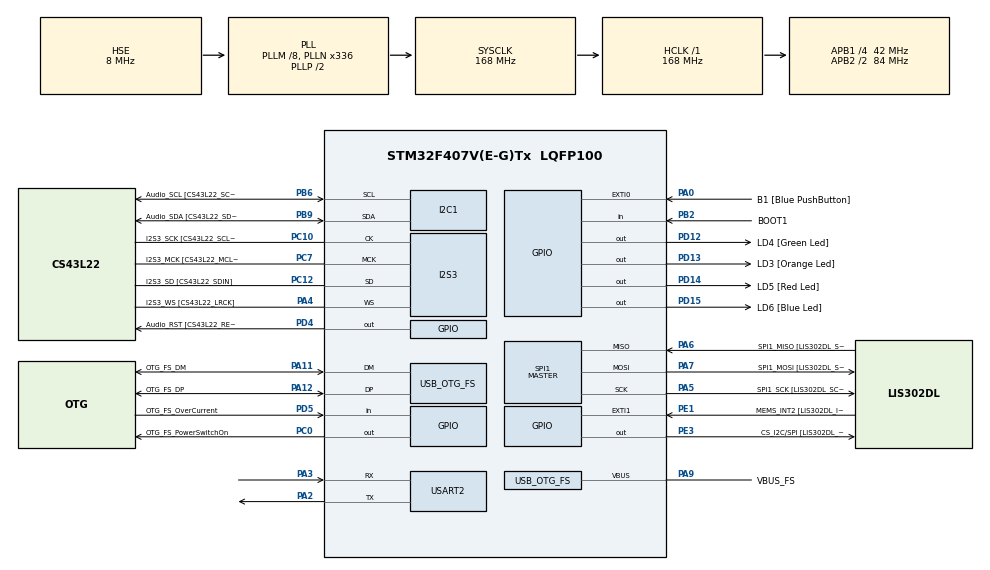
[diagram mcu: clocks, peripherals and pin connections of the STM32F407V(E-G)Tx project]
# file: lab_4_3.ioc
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FREERTOS.Mutexes01=myMutex01,Dynamic,NULL
FREERTOS.Tasks01=defaultTask,0,128,StartDefaultTask,Default,NULL,Dynamic,NULL,NULL
I2S3.AudioFreq-Half_Duplex_Master=I2S_AUDIOFREQ_96K
I2S3.ErrorAudioFreq=-2.34 %
I2S3.ErrorAudioFreq-Half_Duplex_Master=0.8 %
I2S3.FullDuplexMode=I2S_FULLDUPLEXMODE_DISABLE
I2S3.Instance=SPI$Index
I2S3.RealAudioFreq=93.75 KHz
I2S3.RealAudioFreq-Half_Duplex_Master=96.774 KHz
I2S3.VirtualMode=I2S_MODE_MASTER
Mcu.Family=STM32F4
Mcu.Name=STM32F407V(E-G)Tx
Mcu.Package=LQFP100
NVIC.OTG_FS_IRQn=true\:5\:0\:false\:false\:true\:true\:true\:true
NVIC.PriorityGroup=NVIC_PRIORITYGROUP_4
PA0-WKUP.GPIO_Label=B1 [Blue PushButton]
PA0-WKUP.GPIO_ModeDefaultEXTI=GPIO_MODE_EVT_RISING
PA0-WKUP.GPIO_PuPd=GPIO_NOPULL
PA0-WKUP.Signal=GPXTI0
PA10.GPIO_Label=OTG_FS_ID
PA10.GPIO_Mode=GPIO_MODE_AF_PP
PA10.GPIO_PuPd=GPIO_NOPULL
PA10.GPIO_Speed=GPIO_SPEED_FREQ_LOW
PA10.Signal=USB_OTG_FS_ID
PA11.GPIO_Label=OTG_FS_DM
PA11.GPIO_Mode=GPIO_MODE_AF_PP
PA11.GPIO_PuPd=GPIO_NOPULL
PA11.GPIO_Speed=GPIO_SPEED_FREQ_LOW
PA11.Mode=Host_Only
PA11.Signal=USB_OTG_FS_DM
PA12.GPIO_Label=OTG_FS_DP
PA12.GPIO_Mode=GPIO_MODE_AF_PP
PA12.GPIO_PuPd=GPIO_NOPULL
PA12.GPIO_Speed=GPIO_SPEED_FREQ_LOW
PA12.Mode=Host_Only
PA12.Signal=USB_OTG_FS_DP
PA13.GPIO_Label=SWDIO
PA13.Mode=Serial_Wire
PA13.Signal=SYS_JTMS-SWDIO
PA14.GPIO_Label=SWCLK
PA14.Mode=Serial_Wire
PA14.Signal=SYS_JTCK-SWCLK
PA2.Mode=Asynchronous
PA2.Signal=USART2_TX
PA3.Mode=Asynchronous
PA3.Signal=USART2_RX
PA4.GPIO_Label=I2S3_WS [CS43L22_LRCK]
PA4.GPIO_Mode=GPIO_MODE_AF_PP
PA4.GPIO_PuPd=GPIO_NOPULL
PA4.GPIO_Speed=GPIO_SPEED_FREQ_LOW
PA4.Mode=Half_Duplex_Master
PA4.Signal=I2S3_WS
PA5.GPIO_Label=SPI1_SCK [LIS302DL_SCL/SPC]
PA5.GPIO_Mode=GPIO_MODE_AF_PP
PA5.GPIO_PuPd=GPIO_NOPULL
PA5.GPIO_Speed=GPIO_SPEED_FREQ_LOW
PA5.Mode=Full_Duplex_Master
PA5.Signal=SPI1_SCK
PA6.GPIO_Label=SPI1_MISO [LIS302DL_SDO]
PA6.GPIO_Mode=GPIO_MODE_AF_PP
PA6.GPIO_PuPd=GPIO_NOPULL
PA6.GPIO_Speed=GPIO_SPEED_FREQ_LOW
PA6.Mode=Full_Duplex_Master
PA6.Signal=SPI1_MISO
PA7.GPIO_Label=SPI1_MOSI [LIS302DL_SDA/SDI/SDO]
PA7.GPIO_Mode=GPIO_MODE_AF_PP
PA7.GPIO_PuPd=GPIO_NOPULL
PA7.GPIO_Speed=GPIO_SPEED_FREQ_LOW
PA7.Mode=Full_Duplex_Master
PA7.Signal=SPI1_MOSI
PA9.GPIO_Label=VBUS_FS
PA9.GPIO_Mode=GPIO_MODE_INPUT
PA9.GPIO_PuPd=GPIO_NOPULL
PA9.Mode=Activate_VBUS
PA9.Signal=USB_OTG_FS_VBUS
PB10.GPIO_Label=CLK_IN [MP45DT02_CLK]
PB10.GPIO_Mode=GPIO_MODE_AF_PP
PB10.GPIO_PuPd=GPIO_NOPULL
PB10.GPIO_Speed=GPIO_SPEED_FREQ_LOW
PB10.Signal=I2S2_CK
PB2.GPIO_Label=BOOT1
PB2.GPIO_Mode=GPIO_MODE_INPUT
PB2.GPIO_PuPd=GPIO_NOPULL
PB2.Signal=GPIO_Input
PB3.GPIO_Label=SWO
PB3.Signal=SYS_JTDO-SWO
PB6.GPIO_Label=Audio_SCL [CS43L22_SCL]
PB6.GPIO_Mode=GPIO_MODE_AF_OD
PB6.GPIO_Pu=GPIO_PULLUP
PB6.GPIO_PuPd=GPIO_NOPULL
PB6.GPIO_Speed=GPIO_SPEED_FREQ_LOW
PB6.Mode=I2C
PB6.Signal=I2C1_SCL
PB9.GPIO_Label=Audio_SDA [CS43L22_SDA]
PB9.GPIO_Mode=GPIO_MODE_AF_OD
PB9.GPIO_Pu=GPIO_PULLUP
PB9.GPIO_PuPd=GPIO_NOPULL
PB9.GPIO_Speed=GPIO_SPEED_FREQ_LOW
PB9.Mode=I2C
PB9.Signal=I2C1_SDA
PC0.GPIO_Label=OTG_FS_PowerSwitchOn
PC0.GPIO_PuPd=GPIO_NOPULL
PC0.GPIO_Speed=GPIO_SPEED_FREQ_LOW
PC0.PinState=GPIO_PIN_SET
PC0.Signal=GPIO_Output
PC10.GPIO_Label=I2S3_SCK [CS43L22_SCLK]
PC10.GPIO_Mode=GPIO_MODE_AF_PP
PC10.GPIO_PuPd=GPIO_NOPULL
PC10.GPIO_Speed=GPIO_SPEED_FREQ_LOW
PC10.Mode=Half_Duplex_Master
PC10.Signal=I2S3_CK
PC12.GPIO_Label=I2S3_SD [CS43L22_SDIN]
PC12.GPIO_Mode=GPIO_MODE_AF_PP
PC12.GPIO_PuPd=GPIO_NOPULL
PC12.GPIO_Speed=GPIO_SPEED_FREQ_LOW
PC12.Mode=Half_Duplex_Master
PC12.Signal=I2S3_SD
PC14-OSC32_IN.GPIO_Label=PC14-OSC32_IN
PC14-OSC32_IN.Mode=LSE-External-Oscillator
PC14-OSC32_IN.Signal=RCC_OSC32_IN
PC15-OSC32_OUT.GPIO_Label=PC15-OSC32_OUT
PC15-OSC32_OUT.Mode=LSE-External-Oscillator
PC15-OSC32_OUT.Signal=RCC_OSC32_OUT
PC3.GPIO_Label=PDM_OUT [MP45DT02_DOUT]
PC3.GPIO_Mode=GPIO_MODE_AF_PP
PC3.GPIO_PuPd=GPIO_NOPULL
PC3.GPIO_Speed=GPIO_SPEED_FREQ_LOW
PC3.Signal=I2S2_SD
PC7.GPIO_Label=I2S3_MCK [CS43L22_MCLK]
PC7.GPIO_Mode=GPIO_MODE_AF_PP
PC7.GPIO_PuPd=GPIO_NOPULL
PC7.GPIO_Speed=GPIO_SPEED_FREQ_LOW
PC7.Mode=Master_Clock_Activated
PC7.Signal=I2S3_MCK
PD12.GPIO_Label=LD4 [Green Led]
PD12.GPIO_PuPd=GPIO_NOPULL
PD12.GPIO_Speed=GPIO_SPEED_FREQ_LOW
PD12.Signal=GPIO_Output
PD13.GPIO_Label=LD3 [Orange Led]
PD13.GPIO_PuPd=GPIO_NOPULL
PD13.GPIO_Speed=GPIO_SPEED_FREQ_LOW
PD13.Signal=GPIO_Output
PD14.GPIO_Label=LD5 [Red Led]
PD14.GPIO_PuPd=GPIO_NOPULL
PD14.GPIO_Speed=GPIO_SPEED_FREQ_LOW
PD14.Signal=GPIO_Output
PD15.GPIO_Label=LD6 [Blue Led]
PD15.GPIO_PuPd=GPIO_NOPULL
PD15.GPIO_Speed=GPIO_SPEED_FREQ_LOW
PD15.Signal=GPIO_Output
PD4.GPIO_Label=Audio_RST [CS43L22_RESET]
PD4.GPIO_PuPd=GPIO_NOPULL
PD4.GPIO_Speed=GPIO_SPEED_FREQ_LOW
PD4.Signal=GPIO_Output
PD5.GPIO_Label=OTG_FS_OverCurrent
PD5.GPIO_Mode=GPIO_MODE_INPUT
PD5.GPIO_PuPd=GPIO_NOPULL
PD5.Signal=GPIO_Input
PE1.GPIO_Label=MEMS_INT2 [LIS302DL_INT2]
PE1.GPIO_ModeDefaultEXTI=GPIO_MODE_EVT_RISING
PE1.GPIO_PuPd=GPIO_NOPULL
PE1.Signal=GPXTI1
PE3.GPIO_Label=CS_I2C/SPI [LIS302DL_CS_I2C/SPI]
PE3.GPIO_PuPd=GPIO_NOPULL
PE3.GPIO_Speed=GPIO_SPEED_FREQ_LOW
PE3.Signal=GPIO_Output
PH0-OSC_IN.GPIO_Label=PH0-OSC_IN
PH0-OSC_IN.Mode=HSE-External-Oscillator
PH0-OSC_IN.Signal=RCC_OSC_IN
PH1-OSC_OUT.GPIO_Label=PH1-OSC_OUT
PH1-OSC_OUT.Mode=HSE-External-Oscillator
PH1-OSC_OUT.Signal=RCC_OSC_OUT
ProjectManager.HeapSize=0x200
ProjectManager.StackSize=0x400
ProjectManager.TargetToolchain=STM32CubeIDE
RCC.48MHZClocksFreq_Value=48000000
RCC.AHBFreq_Value=168000000
RCC.APB1CLKDivider=RCC_HCLK_DIV4
RCC.APB1Freq_Value=42000000
RCC.APB1TimFreq_Value=84000000
RCC.APB2CLKDivider=RCC_HCLK_DIV2
RCC.APB2Freq_Value=84000000
RCC.APB2TimFreq_Value=168000000
RCC.CortexFreq_Value=168000000
RCC.HCLKFreq_Value=168000000
RCC.HSE_VALUE=8000000
RCC.HSI_VALUE=16000000
RCC.PLLM=8
RCC.PLLN=336
RCC.PLLQ=7
RCC.SYSCLKFreq_VALUE=168000000
RCC.SYSCLKSource=RCC_SYSCLKSOURCE_PLLCLK
RCC.VCOOutputFreq_Value=336000000
SPI1.BaudRatePrescaler-Full_Duplex_Master=SPI_BAUDRATEPRESCALER_2
SPI1.CalculateBaudRate-Full_Duplex_Master=42.0 MBits/s
SPI1.Direction=SPI_DIRECTION_2LINES
SPI1.Mode=SPI_MODE_MASTER
SPI1.Mode-Full_Duplex_Master=SPI_MODE_MASTER
SPI1.VirtualType=VM_MASTER
USART2.VirtualMode=VM_ASYNC
USB_HOST.BSP.number=1
USB_HOST.USBH_HandleTypeDef-CDC_FS=hUsbHostFS
USB_HOST.USBH_USE_OS-CDC_FS=0
USB_HOST.VirtualModeFS=Cdc
USB_HOST0.BSP.STBoard=false
USB_HOST0.BSP.api=Unknown
USB_HOST0.BSP.i2caddr=0
USB_HOST0.BSP.i2creg=0
USB_HOST0.BSP.instance=PC0
USB_HOST0.BSP.ip=GPIO
USB_HOST0.BSP.mode=Output
USB_HOST0.BSP.name=Drive_VBUS_FS
USB_HOST0.BSP.solution=PC0
USB_OTG_FS.VirtualMode=Host_Only
USB_OTG_FS.phy_itface=HCD_PHY_EMBEDDED
VP_FREERTOS_VS_CMSIS_V1.Mode=CMSIS_V1
VP_USB_HOST_VS_USB_HOST_CDC_FS.Mode=CDC_FS
board=STM32F407G-DISC1

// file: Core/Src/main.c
/* USER CODE BEGIN Header */
/**
 ******************************************************************************
 * @file           : main.c
 * @brief          : Main program body
 ******************************************************************************
 * @attention
 *
 * Copyright (c) 2022 STMicroelectronics.
 * All rights reserved.
 *
 * This software is licensed under terms that can be found in the LICENSE file
 * in the root directory of this software component.
 * If no LICENSE file comes with this software, it is provided AS-IS.
 *
 ******************************************************************************
 */
/* USER CODE END Header */
#include "main.h"
#include "cmsis_os.h"
#include "usb_host.h"

I2C_HandleTypeDef hi2c1;

I2S_HandleTypeDef hi2s3;

SPI_HandleTypeDef hspi1;

UART_HandleTypeDef huart2;

osThreadId defaultTaskHandle;
osMutexId myMutex01Handle;

void SystemClock_Config(void);
static void MX_GPIO_Init(void);
static void MX_I2C1_Init(void);
static void MX_I2S3_Init(void);
static void MX_SPI1_Init(void);
static void MX_USART2_UART_Init(void);
void StartDefaultTask(void const *argument);

/* USER CODE BEGIN 0 */
void uart1_thread(void const *args) {
	int threadID = 0; // threadID is 0 for one thread and 1 for another
	int idx = 0;
	char buffer[32];
	while (1) {
		sprintf(buffer, "TID: %d %d\r\n", threadID, idx);
		idx++;
		osMutexWait(myMutex01Handle, osWaitForever);
		HAL_UART_Transmit(&huart2, buffer, strlen(buffer), 1000);
		osMutexRelease(myMutex01Handle);
		osThreadYield();
	}
}

void uart2_thread(void const *args) {
	int threadID = 1; // threadID is 0 for one thread and 1 for another
	int idx = 0;
	char buffer[32];
	while (1) {
		sprintf(buffer, "TID: %d %d\r\n", threadID, idx);
		idx++;
		osMutexWait(myMutex01Handle, osWaitForever);
		HAL_UART_Transmit(&huart2, buffer, strlen(buffer), 1000);
		osMutexRelease(myMutex01Handle);
		osThreadYield();
	}
}

/* USER CODE END 0 */

int main(void) {

	/* MCU Configuration--------------------------------------------------------*/

	/* Reset of all peripherals, Initializes the Flash interface and the Systick. */
	HAL_Init();

	/* Configure the system clock */
	SystemClock_Config();

	/* Initialize all configured peripherals */
	MX_GPIO_Init();
	MX_I2C1_Init();
	MX_I2S3_Init();
	MX_SPI1_Init();
	MX_USART2_UART_Init();

	/* Create the mutex(es) */
	/* definition and creation of myMutex01 */
	osMutexDef(myMutex01);
	myMutex01Handle = osMutexCreate(osMutex(myMutex01));

	/* Create the thread(s) */
	/* definition and creation of defaultTask */
	osThreadDef(defaultTask, StartDefaultTask, osPriorityNormal, 0, 128);
	defaultTaskHandle = osThreadCreate(osThread(defaultTask), NULL);

	/* Start scheduler */
	osKernelStart();

	/* We should never get here as control is now taken by the scheduler */
	/* Infinite loop */
	while (1) {

	}
}

void SystemClock_Config(void) {
	RCC_OscInitTypeDef RCC_OscInitStruct = { 0 };
	RCC_ClkInitTypeDef RCC_ClkInitStruct = { 0 };

	/** Configure the main internal regulator output voltage
	 */
	__HAL_RCC_PWR_CLK_ENABLE();
	__HAL_PWR_VOLTAGESCALING_CONFIG(PWR_REGULATOR_VOLTAGE_SCALE1);
	/** Initializes the RCC Oscillators according to the specified parameters
	 * in the RCC_OscInitTypeDef structure.
	 */
	RCC_OscInitStruct.OscillatorType = RCC_OSCILLATORTYPE_HSE;
	RCC_OscInitStruct.HSEState = RCC_HSE_ON;
	RCC_OscInitStruct.PLL.PLLState = RCC_PLL_ON;
	RCC_OscInitStruct.PLL.PLLSource = RCC_PLLSOURCE_HSE;
	RCC_OscInitStruct.PLL.PLLM = 8;
	RCC_OscInitStruct.PLL.PLLN = 336;
	RCC_OscInitStruct.PLL.PLLP = RCC_PLLP_DIV2;
	RCC_OscInitStruct.PLL.PLLQ = 7;
	if (HAL_RCC_OscConfig(&RCC_OscInitStruct) != HAL_OK) {
		Error_Handler();
	}
	/** Initializes the CPU, AHB and APB buses clocks
	 */
	RCC_ClkInitStruct.ClockType = RCC_CLOCKTYPE_HCLK | RCC_CLOCKTYPE_SYSCLK
			| RCC_CLOCKTYPE_PCLK1 | RCC_CLOCKTYPE_PCLK2;
	RCC_ClkInitStruct.SYSCLKSource = RCC_SYSCLKSOURCE_PLLCLK;
	RCC_ClkInitStruct.AHBCLKDivider = RCC_SYSCLK_DIV1;
	RCC_ClkInitStruct.APB1CLKDivider = RCC_HCLK_DIV4;
	RCC_ClkInitStruct.APB2CLKDivider = RCC_HCLK_DIV2;

	if (HAL_RCC_ClockConfig(&RCC_ClkInitStruct, FLASH_LATENCY_5) != HAL_OK) {
		Error_Handler();
	}
}

static void MX_I2C1_Init(void) {

	hi2c1.Instance = I2C1;
	hi2c1.Init.ClockSpeed = 100000;
	hi2c1.Init.DutyCycle = I2C_DUTYCYCLE_2;
	hi2c1.Init.OwnAddress1 = 0;
	hi2c1.Init.AddressingMode = I2C_ADDRESSINGMODE_7BIT;
	hi2c1.Init.DualAddressMode = I2C_DUALADDRESS_DISABLE;
	hi2c1.Init.OwnAddress2 = 0;
	hi2c1.Init.GeneralCallMode = I2C_GENERALCALL_DISABLE;
	hi2c1.Init.NoStretchMode = I2C_NOSTRETCH_DISABLE;
	if (HAL_I2C_Init(&hi2c1) != HAL_OK) {
		Error_Handler();
	}

}

static void MX_I2S3_Init(void) {

	hi2s3.Instance = SPI3;
	hi2s3.Init.Mode = I2S_MODE_MASTER_TX;
	hi2s3.Init.Standard = I2S_STANDARD_PHILIPS;
	hi2s3.Init.DataFormat = I2S_DATAFORMAT_16B;
	hi2s3.Init.MCLKOutput = I2S_MCLKOUTPUT_ENABLE;
	hi2s3.Init.AudioFreq = I2S_AUDIOFREQ_96K;
	hi2s3.Init.CPOL = I2S_CPOL_LOW;
	hi2s3.Init.ClockSource = I2S_CLOCK_PLL;
	hi2s3.Init.FullDuplexMode = I2S_FULLDUPLEXMODE_DISABLE;
	if (HAL_I2S_Init(&hi2s3) != HAL_OK) {
		Error_Handler();
	}

}

static void MX_SPI1_Init(void) {

	/* SPI1 parameter configuration*/
	hspi1.Instance = SPI1;
	hspi1.Init.Mode = SPI_MODE_MASTER;
	hspi1.Init.Direction = SPI_DIRECTION_2LINES;
	hspi1.Init.DataSize = SPI_DATASIZE_8BIT;
	hspi1.Init.CLKPolarity = SPI_POLARITY_LOW;
	hspi1.Init.CLKPhase = SPI_PHASE_1EDGE;
	hspi1.Init.NSS = SPI_NSS_SOFT;
	hspi1.Init.BaudRatePrescaler = SPI_BAUDRATEPRESCALER_2;
	hspi1.Init.FirstBit = SPI_FIRSTBIT_MSB;
	hspi1.Init.TIMode = SPI_TIMODE_DISABLE;
	hspi1.Init.CRCCalculation = SPI_CRCCALCULATION_DISABLE;
	hspi1.Init.CRCPolynomial = 10;
	if (HAL_SPI_Init(&hspi1) != HAL_OK) {
		Error_Handler();
	}

}

static void MX_USART2_UART_Init(void) {

	huart2.Instance = USART2;
	huart2.Init.BaudRate = 115200;
	huart2.Init.WordLength = UART_WORDLENGTH_8B;
	huart2.Init.StopBits = UART_STOPBITS_1;
	huart2.Init.Parity = UART_PARITY_NONE;
	huart2.Init.Mode = UART_MODE_TX_RX;
	huart2.Init.HwFlowCtl = UART_HWCONTROL_NONE;
	huart2.Init.OverSampling = UART_OVERSAMPLING_16;
	if (HAL_UART_Init(&huart2) != HAL_OK) {
		Error_Handler();
	}

}

static void MX_GPIO_Init(void) {
	GPIO_InitTypeDef GPIO_InitStruct = { 0 };

	/* GPIO Ports Clock Enable */
	__HAL_RCC_GPIOE_CLK_ENABLE();
	__HAL_RCC_GPIOC_CLK_ENABLE();
	__HAL_RCC_GPIOH_CLK_ENABLE();
	__HAL_RCC_GPIOA_CLK_ENABLE();
	__HAL_RCC_GPIOB_CLK_ENABLE();
	__HAL_RCC_GPIOD_CLK_ENABLE();

	/*Configure GPIO pin Output Level */
	HAL_GPIO_WritePin(CS_I2C_SPI_GPIO_Port, CS_I2C_SPI_Pin, GPIO_PIN_RESET);

	/*Configure GPIO pin Output Level */
	HAL_GPIO_WritePin(OTG_FS_PowerSwitchOn_GPIO_Port, OTG_FS_PowerSwitchOn_Pin,
			GPIO_PIN_SET);

	/*Configure GPIO pin Output Level */
	HAL_GPIO_WritePin(GPIOD,
	LD4_Pin | LD3_Pin | LD5_Pin | LD6_Pin | Audio_RST_Pin, GPIO_PIN_RESET);

	/*Configure GPIO pin : CS_I2C_SPI_Pin */
	GPIO_InitStruct.Pin = CS_I2C_SPI_Pin;
	GPIO_InitStruct.Mode = GPIO_MODE_OUTPUT_PP;
	GPIO_InitStruct.Pull = GPIO_NOPULL;
	GPIO_InitStruct.Speed = GPIO_SPEED_FREQ_LOW;
	HAL_GPIO_Init(CS_I2C_SPI_GPIO_Port, &GPIO_InitStruct);

	/*Configure GPIO pin : OTG_FS_PowerSwitchOn_Pin */
	GPIO_InitStruct.Pin = OTG_FS_PowerSwitchOn_Pin;
	GPIO_InitStruct.Mode = GPIO_MODE_OUTPUT_PP;
	GPIO_InitStruct.Pull = GPIO_NOPULL;
	GPIO_InitStruct.Speed = GPIO_SPEED_FREQ_LOW;
	HAL_GPIO_Init(OTG_FS_PowerSwitchOn_GPIO_Port, &GPIO_InitStruct);

	/*Configure GPIO pin : PDM_OUT_Pin */
	GPIO_InitStruct.Pin = PDM_OUT_Pin;
	GPIO_InitStruct.Mode = GPIO_MODE_AF_PP;
	GPIO_InitStruct.Pull = GPIO_NOPULL;
	GPIO_InitStruct.Speed = GPIO_SPEED_FREQ_LOW;
	GPIO_InitStruct.Alternate = GPIO_AF5_SPI2;
	HAL_GPIO_Init(PDM_OUT_GPIO_Port, &GPIO_InitStruct);

	/*Configure GPIO pin : B1_Pin */
	GPIO_InitStruct.Pin = B1_Pin;
	GPIO_InitStruct.Mode = GPIO_MODE_EVT_RISING;
	GPIO_InitStruct.Pull = GPIO_NOPULL;
	HAL_GPIO_Init(B1_GPIO_Port, &GPIO_InitStruct);

	/*Configure GPIO pin : BOOT1_Pin */
	GPIO_InitStruct.Pin = BOOT1_Pin;
	GPIO_InitStruct.Mode = GPIO_MODE_INPUT;
	GPIO_InitStruct.Pull = GPIO_NOPULL;
	HAL_GPIO_Init(BOOT1_GPIO_Port, &GPIO_InitStruct);

	/*Configure GPIO pin : CLK_IN_Pin */
	GPIO_InitStruct.Pin = CLK_IN_Pin;
	GPIO_InitStruct.Mode = GPIO_MODE_AF_PP;
	GPIO_InitStruct.Pull = GPIO_NOPULL;
	GPIO_InitStruct.Speed = GPIO_SPEED_FREQ_LOW;
	GPIO_InitStruct.Alternate = GPIO_AF5_SPI2;
	HAL_GPIO_Init(CLK_IN_GPIO_Port, &GPIO_InitStruct);

	/*Configure GPIO pins : LD4_Pin LD3_Pin LD5_Pin LD6_Pin
	 Audio_RST_Pin */
	GPIO_InitStruct.Pin = LD4_Pin | LD3_Pin | LD5_Pin | LD6_Pin | Audio_RST_Pin;
	GPIO_InitStruct.Mode = GPIO_MODE_OUTPUT_PP;
	GPIO_InitStruct.Pull = GPIO_NOPULL;
	GPIO_InitStruct.Speed = GPIO_SPEED_FREQ_LOW;
	HAL_GPIO_Init(GPIOD, &GPIO_InitStruct);

	/*Configure GPIO pin : OTG_FS_OverCurrent_Pin */
	GPIO_InitStruct.Pin = OTG_FS_OverCurrent_Pin;
	GPIO_InitStruct.Mode = GPIO_MODE_INPUT;
	GPIO_InitStruct.Pull = GPIO_NOPULL;
	HAL_GPIO_Init(OTG_FS_OverCurrent_GPIO_Port, &GPIO_InitStruct);

	/*Configure GPIO pin : MEMS_INT2_Pin */
	GPIO_InitStruct.Pin = MEMS_INT2_Pin;
	GPIO_InitStruct.Mode = GPIO_MODE_EVT_RISING;
	GPIO_InitStruct.Pull = GPIO_NOPULL;
	HAL_GPIO_Init(MEMS_INT2_GPIO_Port, &GPIO_InitStruct);

}

void StartDefaultTask(void const *argument) {
	/* init code for USB_HOST */
	MX_USB_HOST_Init();
	/* USER CODE BEGIN 5 */
	osThreadDef(uart1, uart1_thread, osPriorityNormal, 0,
	128);
	osThreadCreate(osThread(uart1), NULL);
	osThreadDef(uart2, uart2_thread, osPriorityNormal, 0,
	128);
	osThreadCreate(osThread(uart2), NULL);
	/* Infinite loop */
	for (;;) {
	}
	/* USER CODE END 5 */
}

void Error_Handler(void) {
	__disable_irq();
	while (1) {
	}
}
